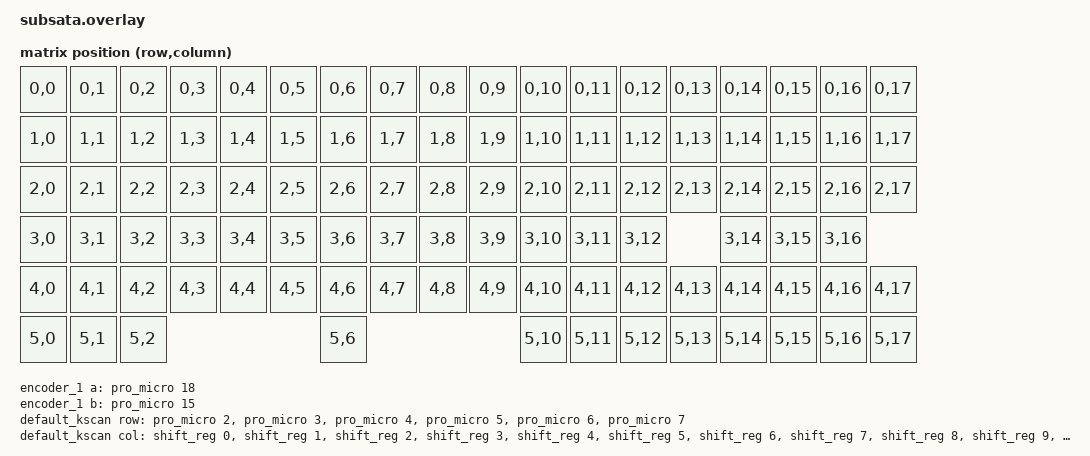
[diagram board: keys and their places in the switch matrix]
#include <dt-bindings/zmk/matrix_transform.h>
#include <dt-bindings/led/led.h>

/ {
    chosen {
        zephyr,display = &oled;
        zmk,kscan = &default_kscan;
        zmk,matrix_transform = &default_transform;
        zmk,underglow = &led_strip;
    };

    encoder_1: encoder_1 {
        compatible = "alps,ec11";
        a-gpios = <&pro_micro 18 (GPIO_ACTIVE_HIGH | GPIO_PULL_UP)>;
        b-gpios = <&pro_micro 15 (GPIO_ACTIVE_HIGH | GPIO_PULL_UP)>;
        steps = <80>;
        status = "okay";

        sensors: sensors {
            compatible = "zmk,keymap-sensors";
            sensors = <&encoder_1>;
            triggers-per-rotation = <40>;
        };
    };

    // gpio_keys: gpio_keys {
    //     compatible = "gpio-keys";
    //     sr_key1: sr_key1 {
    //         gpios = <&shift_reg 0 (GPIO_ACTIVE_HIGH)>;
    //         label = "SR Key 1";
    //     };
    // };

    default_kscan: kscan {
    compatible = "zmk,kscan-gpio-matrix";
    diode-direction = "col2row";

    row-gpios
        = <&pro_micro 2 (GPIO_ACTIVE_HIGH | GPIO_PULL_DOWN)>  // P0.17 (D2)
        , <&pro_micro 3 (GPIO_ACTIVE_HIGH | GPIO_PULL_DOWN)>  // P0.20 (D3)
        , <&pro_micro 4 (GPIO_ACTIVE_HIGH | GPIO_PULL_DOWN)>  // P0.22 (D4)
        , <&pro_micro 5 (GPIO_ACTIVE_HIGH | GPIO_PULL_DOWN)>  // P0.24 (D5)
        , <&pro_micro 6 (GPIO_ACTIVE_HIGH | GPIO_PULL_DOWN)>  // P1.00 (D6)
        , <&pro_micro 7 (GPIO_ACTIVE_HIGH | GPIO_PULL_DOWN)>  // P0.11 (D7)
        ;

    col-gpios
        // First shift register (columns 0-7)
        = <&shift_reg 0 GPIO_ACTIVE_HIGH>  // QA - Col 0
        , <&shift_reg 1  GPIO_ACTIVE_HIGH>  // QB - Col 1
        , <&shift_reg 2  GPIO_ACTIVE_HIGH>  // QC - Col 2
        , <&shift_reg 3  GPIO_ACTIVE_HIGH>  // QD - Col 3
        , <&shift_reg 4  GPIO_ACTIVE_HIGH>  // QE - Col 4
        , <&shift_reg 5  GPIO_ACTIVE_HIGH>  // QF - Col 5
        , <&shift_reg 6  GPIO_ACTIVE_HIGH>  // QG - Col 6
        , <&shift_reg 7  GPIO_ACTIVE_HIGH>  // QH - Col 7
        // Second shift register (columns 8-15)
        , <&shift_reg 8 GPIO_ACTIVE_HIGH>  // QA - Col 8
        , <&shift_reg 9  GPIO_ACTIVE_HIGH>  // QB - Col 9
        , <&shift_reg 10  GPIO_ACTIVE_HIGH>  // QC - Col 10
        , <&shift_reg 11  GPIO_ACTIVE_HIGH>  // QD - Col 11
        , <&shift_reg 12  GPIO_ACTIVE_HIGH>  // QE - Col 12
        , <&shift_reg 13  GPIO_ACTIVE_HIGH>  // QF - Col 13
        , <&shift_reg 14  GPIO_ACTIVE_HIGH>  // QG - Col 14
        , <&shift_reg 15  GPIO_ACTIVE_HIGH>  // QH - Col 15
        // Direct GPIO pins
        , <&pro_micro 1 GPIO_ACTIVE_HIGH>   // P0.06 (D1) - Col 16
        , <&pro_micro 0 GPIO_ACTIVE_HIGH>   // P0.08 (D0) - Col 17
        ;
};

default_transform: keymap_transform_0 {
    compatible = "zmk,matrix-transform";
    columns = <18>;
    rows = <6>;
    map = <
        RC(0,0) RC(0,1) RC(0,2) RC(0,3) RC(0,4) RC(0,5) RC(0,6) RC(0,7) RC(0,8) RC(0,9) RC(0,10) RC(0,11) RC(0,12) RC(0,13) RC(0,14) RC(0,15) RC(0,16) RC(0,17)
        RC(1,0) RC(1,1) RC(1,2) RC(1,3) RC(1,4) RC(1,5) RC(1,6) RC(1,7) RC(1,8) RC(1,9) RC(1,10) RC(1,11) RC(1,12) RC(1,13) RC(1,14) RC(1,15) RC(1,16) RC(1,17)
        RC(2,0) RC(2,1) RC(2,2) RC(2,3) RC(2,4) RC(2,5) RC(2,6) RC(2,7) RC(2,8) RC(2,9) RC(2,10) RC(2,11) RC(2,12) RC(2,13) RC(2,14) RC(2,15) RC(2,16) RC(2,17)
        RC(3,0) RC(3,1) RC(3,2) RC(3,3) RC(3,4) RC(3,5) RC(3,6) RC(3,7) RC(3,8) RC(3,9) RC(3,10) RC(3,11) RC(3,12)          RC(3,14) RC(3,15) RC(3,16)
        RC(4,0) RC(4,1) RC(4,2) RC(4,3) RC(4,4) RC(4,5) RC(4,6) RC(4,7) RC(4,8) RC(4,9) RC(4,10) RC(4,11) RC(4,12) RC(4,13) RC(4,14) RC(4,15) RC(4,16) RC(4,17)
        RC(5,0) RC(5,1) RC(5,2)                         RC(5,6)                         RC(5,10) RC(5,11) RC(5,12) RC(5,13) RC(5,14) RC(5,15) RC(5,16) RC(5,17)
    >;
};

/*
Col:   0  1  2  3  4  5  6  7  8  9 10 11 12 13 14 15 16 17
Row0:  ○  ○  ○  ○  ○  ○  ○  ○  ○  ○  ○  ○  ○  ○  ○  ○  ○  ○
Row1:  ○  ○  ○  ○  ○  ○  ○  ○  ○  ○  ○  ○  ○  ○  ○  ○  ○  ○
Row2:  ○  ○  ○  ○  ○  ○  ○  ○  ○  ○  ○  ○  ○  ○  ○  ○  ○  ○
Row3:  ○  ○  ○  ○  ○  ○  ○  ○  ○  ○  ○  ○  ○  -  ○  ○  ○  -
Row4:  ○  ○  ○  ○  ○  ○  ○  ○  ○  ○  ○  ○  ○  ○  ○  ○  ○  ○
Row5:  ○  ○  ○  -  -  -  ○  -  -  -  ○  ○  ○  ○  ○  ○  ○  ○

*/

    // default_kscan: kscan {
    //     compatible = "zmk,kscan-gpio-matrix";
    //     diode-direction = "col2row";

    //     row-gpios
    //         = <&pro_micro 16 (GPIO_ACTIVE_HIGH | GPIO_PULL_DOWN)> 
    //         , <&pro_micro 14 (GPIO_ACTIVE_HIGH | GPIO_PULL_DOWN)>
    //         , <&pro_micro 18 (GPIO_ACTIVE_HIGH | GPIO_PULL_DOWN)>
    //         ;

    //     col-gpios
    //         = <&pro_micro 7 GPIO_ACTIVE_HIGH>
    //         , <&pro_micro 6 GPIO_ACTIVE_HIGH>
    //         , <&pro_micro 5 GPIO_ACTIVE_HIGH>
    //         , <&shift_reg 0 GPIO_ACTIVE_HIGH>
    //         ;
    // };

    // default_transform: keymap_transform_0 {
    //     compatible = "zmk,matrix-transform";
    //     columns = <4>;
    //     rows = <3>;
    //     map = <
    //         RC(0,0) RC(0,1) RC(0,2)
    //         RC(1,0) RC(1,1) RC(1,2)
    //         RC(2,0) RC(2,1) RC(2,2)
    //         RC(0,3)
    //     >;
    // };
};

&pinctrl {
    pro_micro_i2c_default: pro_micro_i2c_default {
        group1 {
            psels = <NRF_PSEL(TWIM_SDA, 1, 11)>, //1.11
                    <NRF_PSEL(TWIM_SCL, 0, 10)>;
        };
    };

    pro_micro_i2c_sleep: pro_micro_i2c_sleep {
        group1 {
            psels = <NRF_PSEL(TWIM_SDA, 1, 11)>,
                    <NRF_PSEL(TWIM_SCL, 0, 10)>;
            low-power-enable;
        };
    };

    spi1_default: spi1_default {
        group1 {
            psels = <NRF_PSEL(SPIM_SCK, 0, 29)>,    // CLOCK SRCLK
                    <NRF_PSEL(SPIM_MOSI, 0, 2)>,   // Data  SER_IN
                    <NRF_PSEL(SPIM_MISO, 0, 31)>;   // RCLK/Latch
        };
    };

    spi1_sleep: spi1_sleep {
        group1 {
            psels = <NRF_PSEL(SPIM_SCK, 0, 29)>,
                    <NRF_PSEL(SPIM_MOSI, 0, 2)>,
                    <NRF_PSEL(SPIM_MISO, 0, 31)>;
            low-power-enable;
        };
    };

    spi3_default: spi3_default {
        group1 {
            psels = <NRF_PSEL(SPIM_MOSI, 0, 4)>;
        };
    };

    spi3_sleep: spi3_sleep {
        group1 {
            psels = <NRF_PSEL(SPIM_MOSI, 0, 4)>;
            low-power-enable;
        };
    };
};

&pro_micro_i2c {
    status = "okay";
    pinctrl-0 = <&pro_micro_i2c_default>;
    pinctrl-1 = <&pro_micro_i2c_sleep>;
    pinctrl-names = "default", "sleep";

    oled: ssd1306@3c {
        compatible = "solomon,ssd1306fb";
        reg = <0x3c>;
        width = <128>;
        height = <32>;
        segment-offset = <0>;
        page-offset = <0>;
        display-offset = <0>;
        multiplex-ratio = <31>;
        segment-remap;
        com-invdir;
        com-sequential;
        inversion-on;
        prechargep = <0x22>;
    };
};

board_spi: &spi1 {
    status = "okay";
    compatible = "nordic,nrf-spim";
    pinctrl-0 = <&spi1_default>;
    pinctrl-1 = <&spi1_sleep>;
    pinctrl-names = "default", "sleep";
    
    shift_reg: 595@0 {
        compatible = "zmk,gpio-595";
        status = "okay";
        gpio-controller;
        spi-max-frequency = <2000000>;
        #gpio-cells = <2>;
        reg = <0>;
        ngpios = <16>;
        write-delay-us = <2>;  // Add write delay
        latch-delay-us = <2>;  // Add latch delay
    };
};

&spi3 {
    compatible = "nordic,nrf-spim";
    status = "okay";

    pinctrl-0 = <&spi3_default>;
    pinctrl-1 = <&spi3_sleep>;
    pinctrl-names = "default", "sleep";

    led_strip: ws2812@0 {
        compatible = "worldsemi,ws2812-spi";

        /* SPI */
        reg = <0>; /* ignored, but necessary for SPI bindings */
        spi-max-frequency = <1000000>;

        /* WS2812 */
        chain-length = <10>; /* arbitrary; change at will */
        spi-one-frame = <0x70>;
        spi-zero-frame = <0x40>;

        color-mapping = <LED_COLOR_ID_GREEN LED_COLOR_ID_RED LED_COLOR_ID_BLUE>;
    };
};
